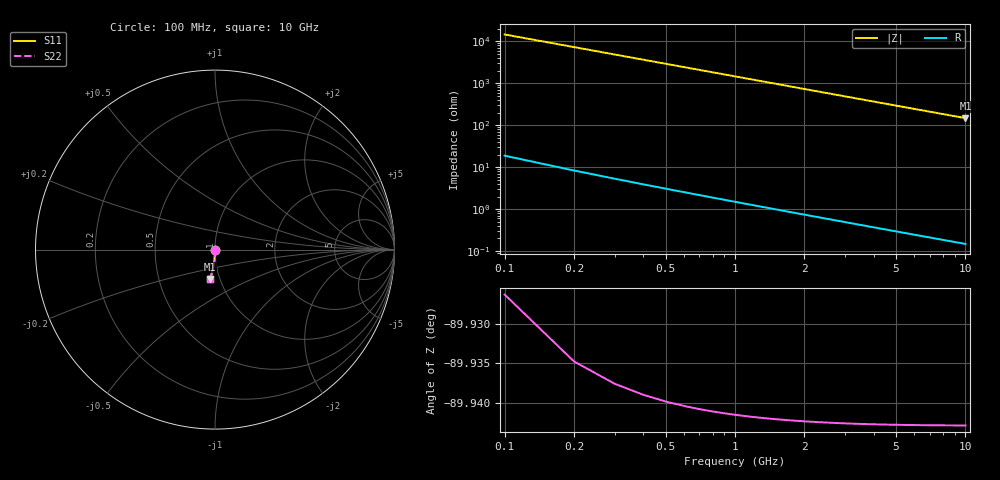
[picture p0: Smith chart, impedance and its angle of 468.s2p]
# Hz S RI R 50.00
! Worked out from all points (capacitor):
!   100 points, 100 MHz to 10 GHz, reference 50 ohm
!   read as one part in shunt: C = 109 fF near 100 MHz
!   lowest |Z| = 148 ohm at 10 GHz (marker M1)
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1e8  -3.54e-06 -0.0017  1 -0.00171  1 -0.00171  -3.54e-06 -0.0017
2e8  -1.39e-05 -0.0034  1 -0.00343  1 -0.00343  -1.39e-05 -0.0034
3e8  -3.02e-05 -0.00509  1 -0.00514  1 -0.00514  -3.02e-05 -0.00509
4e8  -5.22e-05 -0.00679  0.9999 -0.00685  0.9999 -0.00685  -5.22e-05 -0.00679
5e8  -8.01e-05 -0.00849  0.9999 -0.00856  0.9999 -0.00856  -8.01e-05 -0.00849
6e8  -0.000114 -0.0102  0.9999 -0.0103  0.9999 -0.0103  -0.000114 -0.0102
7e8  -0.000153 -0.0119  0.9998 -0.012  0.9998 -0.012  -0.000153 -0.0119
8e8  -0.000198 -0.0136  0.9998 -0.0137  0.9998 -0.0137  -0.000198 -0.0136
9e8  -0.000249 -0.0153  0.9997 -0.0154  0.9997 -0.0154  -0.000249 -0.0153
1.1e9  -0.000369 -0.0187  0.9996 -0.0188  0.9996 -0.0188  -0.000369 -0.0187
1.4e9  -0.000591 -0.0237  0.9994 -0.0239  0.9994 -0.0239  -0.000591 -0.0237
1.8e9  -0.000968 -0.0305  0.999 -0.0308  0.999 -0.0308  -0.000968 -0.0305
2.1e9  -0.00131 -0.0355  0.9987 -0.0359  0.9987 -0.0359  -0.00131 -0.0355
2.5e9  -0.00185 -0.0423  0.9981 -0.0427  0.9981 -0.0427  -0.00185 -0.0423
2.9e9  -0.00247 -0.049  0.9975 -0.0494  0.9975 -0.0494  -0.00247 -0.049
3.4e9  -0.00338 -0.0573  0.9966 -0.0578  0.9966 -0.0578  -0.00338 -0.0573
4.2e9  -0.00513 -0.0706  0.9949 -0.0713  0.9949 -0.0713  -0.00513 -0.0706
5.1e9  -0.00751 -0.0854  0.9925 -0.0862  0.9925 -0.0862  -0.00751 -0.0854
5.9e9  -0.00998 -0.0985  0.99 -0.0994  0.99 -0.0994  -0.00998 -0.0985
6.7e9  -0.0128 -0.1114  0.9872 -0.1124  0.9872 -0.1124  -0.0128 -0.1114
8.4e9  -0.0199 -0.1384  0.9801 -0.1397  0.9801 -0.1397  -0.0199 -0.1384
1e10  -0.0278 -0.1631  0.9722 -0.1647  0.9722 -0.1647  -0.0278 -0.1631
